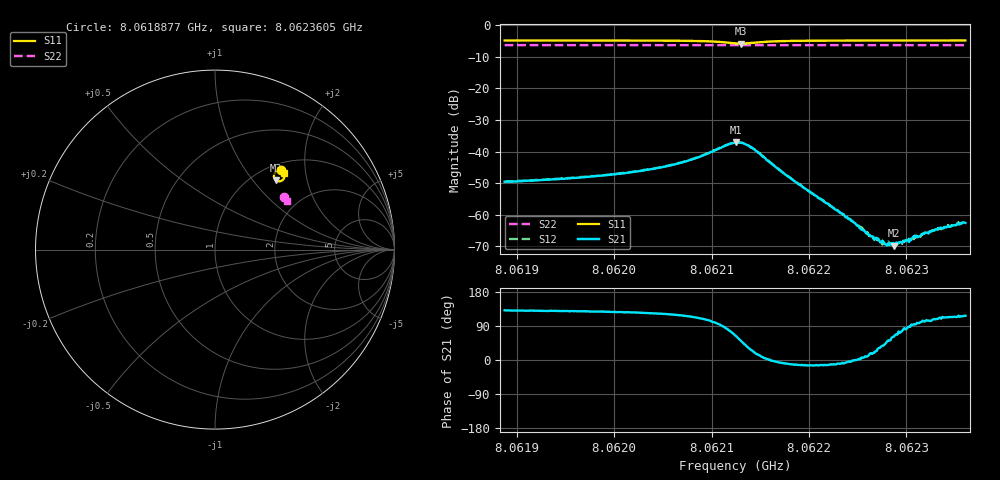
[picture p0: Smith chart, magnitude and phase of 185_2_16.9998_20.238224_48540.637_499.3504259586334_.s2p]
#  HZ  S  RI  R  50.00
! Rohde & Schwarz Vector Network Analyzer
! Rohde-Schwarz,ZNB20-2Port,1311601062101988,3.16
! Created: UTC 3/20/2024, 11:00:19 PM
! freq[Hz]  re:S11  im:S11  re:S21  im:S21  re:S12  im:S12  re:S22  im:S22
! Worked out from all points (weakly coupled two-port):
!   401 points, 8.0618877 GHz to 8.0623605 GHz, reference 50 ohm
!   highest |S21| = -37.08 dB at 8.0621253 GHz (marker M1); lowest = -69.8 dB at 8.0622872 GHz (marker M2)
!   lowest |S11| = -5.8 dB at 8.06213 GHz (marker M3), VSWR 3.12, Z = 62.7 + j66 ohm
!   |S11| at or under -10 dB: nowhere
!   |S22| runs from -6.3 to -6.3 dB; largest |S21 - S12| = 0.0011
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8.06188768e9  0.3691 0.4419  -0.00219 0.0025  -0.00203 0.00267  0.3872 0.294
8.06196687e9  0.3754 0.4361  -0.00243 0.00306  -0.00228 0.00325  0.3899 0.29
8.06201651e9  0.38 0.4306  -0.00275 0.00381  -0.0025 0.00398  0.3917 0.2875
8.06204606e9  0.3832 0.4256  -0.00296 0.0047  -0.00272 0.00487  0.3928 0.2858
8.06208034e9  0.3869 0.414  -0.00303 0.00689  -0.00265 0.00717  0.3938 0.2837
8.06212408e9  0.3532 0.3808  0.00577 0.0125  0.00662 0.0123  0.393 0.2809
8.06212526e9  0.3502 0.3815  0.00637 0.0125  0.00722 0.012  0.3932 0.2808
8.06212998e9  0.3393 0.3869  0.00863 0.0107  0.00937 0.0104  0.393 0.2811
8.0621359e9  0.3303 0.3994  0.0103 0.00762  0.0109 0.00708  0.3926 0.2814
8.06214417e9  0.3292 0.4175  0.0102 0.00359  0.0104 0.00292  0.3935 0.282
8.06217608e9  0.3543 0.4392  0.00423 -0.000698  0.00426 -0.000964  0.3958 0.281
8.06220327e9  0.3656 0.4386  0.00211 -0.000525  0.00211 -0.000653  0.3971 0.2793
8.06224228e9  0.3739 0.4355  0.000844 -6.91e-05  0.000845 -0.000129  0.3985 0.2774
8.06226355e9  0.3769 0.434  0.000432 0.00014  0.000465 4.34e-05  0.3994 0.2763
8.06227655e9  0.3784 0.4329  0.000289 0.000229  0.000297 0.000219  0.3997 0.2756
8.06228246e9  0.379 0.4324  0.00021 0.000257  0.000235 0.00027  0.4001 0.2753
8.06228719e9  0.3794 0.4321  0.000155 0.000286  0.000167 0.00027  0.4002 0.275
8.06230256e9  0.381 0.4312  1.27e-05 0.000369  2.59e-05 0.000416  0.4007 0.2742
8.06230847e9  0.3816 0.4307  -3.92e-05 0.000463  4.06e-05 0.000424  0.4008 0.274
8.06232738e9  0.3832 0.4296  -0.000163 0.000531  -0.000142 0.00054  0.4016 0.273
8.06235575e9  0.3856 0.4278  -0.000311 0.00065  -0.000287 0.000669  0.4025 0.2715
8.06236048e9  0.3859 0.4276  -0.000331 0.000661  -0.000302 0.000664  0.4025 0.2714
